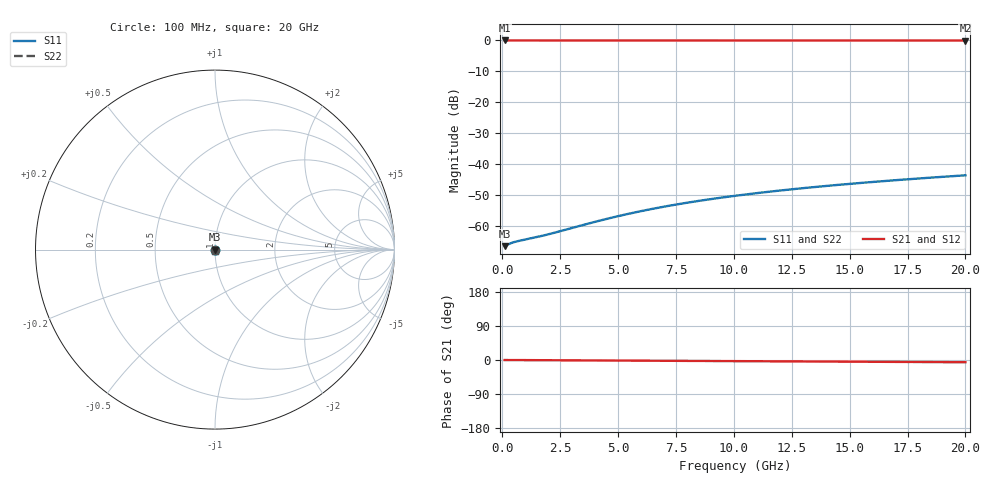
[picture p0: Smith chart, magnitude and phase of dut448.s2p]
! Touchstone file exported from HFSS 2026.1.0
!  File:  C:/ffzhzh/LocalFiles/Ansys_Project_Files/temp_train_TSV_448_1783021658_55676.aedt
!  Generated:  03:49:21 AM Jul  3, 2026
!  Design:  TSV
!  Project:  temp_train_TSV_448_1783021658_55676
! Variables:
!  h_bsmrdl = 2um
!  h_ox = 20um
!  h_rdl = 5um
!  h_sub = 62.84um
!  h_tmrdl = 5um
!  h_tsv = 62.84um
!  h_via = 3um
!  l_bsmrdl = 300um
!  l_sub = 408.18um
!  l_tmrdl = 200um
!  m_sub = 200um
!  pitch = 15.7um
!  r_tsv = 4.09um
!  s_tmrdl = 10um
!  w_bsmrdl = 18um
!  w_sub = 500um
!  w_tmrdl = 12um
!  x_tsv_center1 = 206um
!  x_tsv_center2 = 524um
!  x_tsv_center3 = 736um
!  x_tsv_center4 = 1054um
!  x_tsv_center5 = 1266um
!  x_tsv_center6 = 1584um
# GHz S MA R 50.000000
! Terminal data exported
! Port[1] = TSV1_1_T1
! Port[2] = TSV1_1_T2
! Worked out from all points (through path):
!   200 points, 100 MHz to 20 GHz, reference 50 ohm
!   highest |S21| = 0.00 dB at 100 MHz (marker M1); lowest = 0.0 dB at 20 GHz (marker M2)
!   lowest |S11| = -66.6 dB at 100 MHz (marker M3), VSWR 1.00, Z = 50 + j0.00177 ohm
!   |S11| at or under -10 dB: start of sweep to end of sweep
!   |S22| runs from -66.6 to -43.7 dB; largest |S21 - S12| = 3e-15
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0.1  0.0004681 2.2  0.9995 -0.0  0.9995 -0.0  0.0004681 2.2
! Gamma 0 0 0 0
! Port Impedance 50 0 50 0
0.3  0.0005098 2.3  0.9995 -0.1  0.9995 -0.1  0.0005098 2.3
0.5  0.0005435 -0.7  0.9995 -0.2  0.9995 -0.2  0.0005435 -0.7
0.7  0.0005677 -4.0  0.9994 -0.2  0.9994 -0.2  0.0005677 -4.0
1.3  0.0006323 -12.8  0.9994 -0.4  0.9994 -0.4  0.0006323 -12.8
1.8  0.0006988 -18.7  0.9993 -0.5  0.9993 -0.5  0.0006988 -18.7
2.4  0.0007989 -24.7  0.9993 -0.7  0.9993 -0.7  0.0007989 -24.7
3.5  0.001034 -33.6  0.9991 -1.1  0.9991 -1.1  0.001034 -33.6
4.4  0.001264 -39.4  0.999 -1.3  0.999 -1.3  0.001264 -39.4
5.2  0.00149 -43.7  0.9989 -1.6  0.9989 -1.6  0.00149 -43.7
6  0.001731 -47.5  0.9988 -1.8  0.9988 -1.8  0.001731 -47.5
6.8  0.001981 -50.8  0.9987 -2.0  0.9987 -2.0  0.001981 -50.8
7.6  0.002239 -53.8  0.9986 -2.3  0.9986 -2.3  0.002239 -53.8
8.4  0.002503 -56.4  0.9985 -2.5  0.9985 -2.5  0.002503 -56.4
9.2  0.00277 -58.7  0.9984 -2.7  0.9984 -2.7  0.00277 -58.7
10.1  0.003074 -61.0  0.9984 -3.0  0.9984 -3.0  0.003074 -61.0
11.7  0.003622 -64.5  0.9982 -3.5  0.9982 -3.5  0.003622 -64.5
13.4  0.004211 -67.5  0.9981 -4.0  0.9981 -4.0  0.004211 -67.5
15  0.004772 -69.9  0.998 -4.4  0.998 -4.4  0.004771 -69.9
16.7  0.005374 -72.0  0.9979 -4.9  0.9979 -4.9  0.005374 -72.0
18.3  0.005948 -73.7  0.9978 -5.4  0.9978 -5.4  0.005947 -73.7
20  0.006566 -75.3  0.9977 -5.9  0.9977 -5.9  0.006566 -75.3
